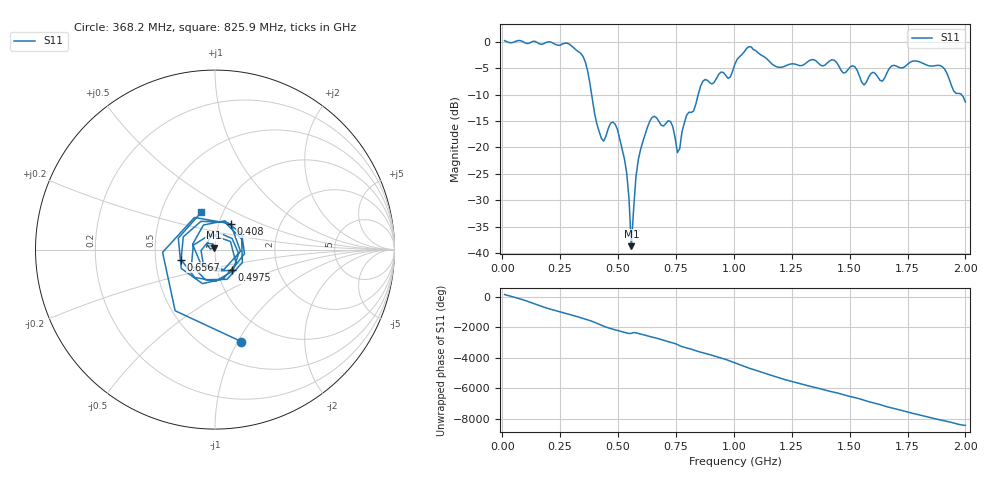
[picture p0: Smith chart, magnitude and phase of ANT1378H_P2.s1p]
!Created with skrf (http://scikit-rf.org).
# Hz S RI R 50.0
!freq ReS11 ImS11
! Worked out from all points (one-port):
!   201 points, 10 MHz to 2 GHz, reference 50 ohm
!   lowest |S11| = -38.7 dB at 557.2 MHz (marker M1), VSWR 1.02, Z = 49.4 + j1.02 ohm
!   |S11| at or under -10 dB: 385.7 MHz to 845.9 MHz (460.2 MHz wide, 74.7 % of centre); 1.983 GHz to end of sweep
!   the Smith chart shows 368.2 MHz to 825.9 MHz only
!   S11 on the Smith chart (normalised r, x): 368.2 MHz: 0.72, -1.03; 408 MHz: 1.14, +0.34; 497.6 MHz: 1.17, -0.28; 656.8 MHz: 0.68, -0.08; 825.9 MHz: 0.79, +0.34
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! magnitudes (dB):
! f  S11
! 10 MHz  0.2
! 258.8 MHz  -0.5
! 368.2 MHz  -5.5
! 408 MHz  -15.5
! 437.9 MHz  -18.8
! 467.7 MHz  -15.4
! 497.6 MHz  -16.6
! 507.5 MHz  -18.4
! 537.4 MHz  -24.9
! 547.3 MHz  -29.7
! 557.2 MHz  -38.7
! 577.1 MHz  -25.6
! 587.1 MHz  -22.4
! 656.8 MHz  -14.1
! 726.4 MHz  -15.1
! 756.2 MHz  -21.0
! 796 MHz  -13.9
! 825.9 MHz  -13.1
! 865.7 MHz  -7.5
! 975.1 MHz  -6.9
! 1.005 GHz  -4.2
! 1.065 GHz  -1.0
! 1.254 GHz  -4.2
! 1.502 GHz  -4.8
! 1.562 GHz  -8.2
! 1.751 GHz  -4.2
! 1.901 GHz  -4.7
! 2 GHz  -11.4
